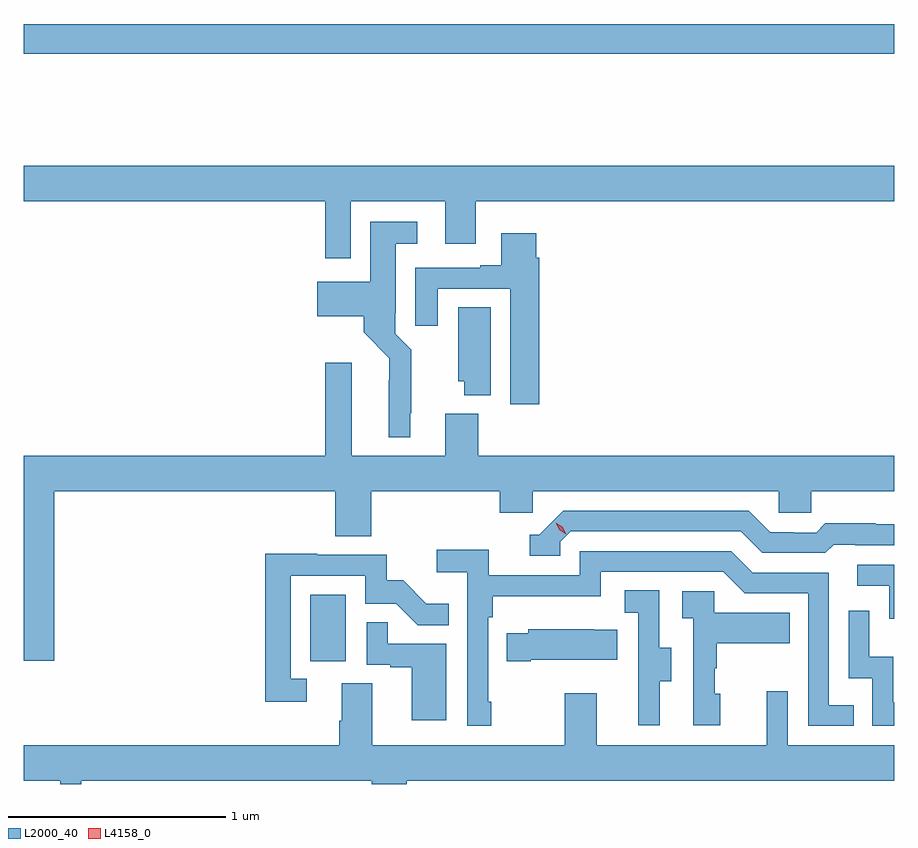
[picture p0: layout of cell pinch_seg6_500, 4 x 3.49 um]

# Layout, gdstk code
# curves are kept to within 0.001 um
import gdstk
lib = gdstk.Library(unit=1e-6, precision=1e-09)
def R(c, l, rs):  # rectangles x0, y0, x1, y1
    for r in rs: c.add(gdstk.rectangle(r[:2], r[2:], *l))
def P(c, l, *ps):  # polygons
    for p in ps: c.add(gdstk.Polygon(p, *l))
L2000_40 = (2000, 40)
L4158_0 = (4158, 0)

pinch_seg6_500 = lib.new_cell('pinch_seg6_500')
R(pinch_seg6_500, L2000_40, [(865.286,934.566,865.45,934.873), (863.971,937.36,867.971,937.496)])
P(pinch_seg6_500, L2000_40, [(865.473,936.68),(865.907,936.68),(865.907,936.486),(866.047,936.486),(866.047,936.68),(867.971,936.68),(867.971,936.844),(863.971,936.844),(863.971,936.68),(865.357,936.68),(865.357,936.42),(865.473,936.42)],
  [(865.747,935.707),(865.751,935.707),(865.751,935.998),(865.677,936.072),(865.677,936.166),(865.681,936.166),(865.681,936.485),(865.78,936.485),(865.78,936.586),(865.562,936.586),(865.562,936.31),(865.32,936.31),(865.32,936.152),(865.532,936.152),(865.532,936.078),(865.65,935.96),(865.649,935.597),(865.747,935.597)],
  [(866.339,936.422),(866.326,936.422),(866.326,936.535),(866.165,936.535),(866.165,936.388),(866.069,936.388),(866.069,936.375),(865.769,936.375),(865.769,936.108),(865.873,936.108),(865.873,936.279),(866.207,936.279),(866.207,935.748),(866.339,935.748)],
  [(866.116,936.194),(865.967,936.194),(865.967,935.853),(865.994,935.853),(865.994,935.789),(866.116,935.789)],
  [(864.11,935.348),(865.403,935.348),(865.403,935.14),(865.568,935.14),(865.568,935.348),(866.159,935.348),(866.159,935.25),(866.31,935.25),(866.31,935.348),(867.441,935.348),(867.441,935.25),(867.591,935.25),(867.591,935.348),(867.971,935.348),(867.971,935.512),(866.06,935.512),(866.06,935.704),(865.907,935.704),(865.907,935.512),(865.477,935.512),(865.477,935.938),(865.355,935.938),(865.355,935.512),(863.971,935.512),(863.971,934.569),(864.11,934.569)],
  [(866.436,935.115),(866.484,935.163),(867.267,935.163),(867.366,935.064),(867.655,935.064),(867.694,935.103),(867.793,935.103),(867.793,935.1),(867.971,935.1),(867.971,935.197),(867.888,935.197),(867.888,935.2),(867.655,935.2),(867.613,935.157),(867.51,935.157),(867.51,935.16),(867.403,935.16),(867.304,935.259),(866.451,935.259),(866.34,935.148),(866.297,935.148),(866.297,935.052),(866.436,935.052)],
  [(866.119,934.381),(866.106,934.381),(866.106,934.769),(866.126,934.769),(866.126,934.865),(866.622,934.865),(866.622,934.977),(867.186,934.977),(867.285,934.878),(867.576,934.878),(867.576,934.269),(867.785,934.269),(867.785,934.365),(867.672,934.365),(867.672,934.974),(867.322,934.974),(867.223,935.073),(866.526,935.073),(866.526,934.962),(866.108,934.962),(866.108,935.078),(865.869,935.078),(865.869,934.976),(866.01,934.976),(866.01,934.269),(866.119,934.269)],
  [(865.27,934.485),(865.197,934.485),(865.197,934.959),(865.539,934.959),(865.539,934.83),(865.683,934.83),(865.781,934.732),(865.925,934.732),(865.925,934.831),(865.821,934.831),(865.714,934.938),(865.638,934.938),(865.638,935.055),(865.319,935.055),(865.319,935.06),(865.081,935.06),(865.081,934.38),(865.27,934.38)],
  [(867.971,935.01),(867.801,935.01),(867.801,934.914),(867.948,934.914),(867.948,934.761),(867.971,934.761)],
  [(866.893,934.474),(866.947,934.474),(866.947,934.629),(866.892,934.629),(866.892,934.892),(866.733,934.892),(866.733,934.789),(866.796,934.789),(866.796,934.485),(866.795,934.485),(866.795,934.272),(866.893,934.272)],
  [(867.172,934.416),(867.147,934.416),(867.147,934.535),(867.157,934.535),(867.157,934.649),(867.491,934.649),(867.491,934.789),(867.144,934.789),(867.144,934.887),(866.997,934.887),(866.997,934.763),(867.048,934.763),(867.048,934.272),(867.172,934.272)],
  [(867.971,934.378),(867.968,934.378),(867.968,934.586),(867.858,934.586),(867.858,934.798),(867.762,934.798),(867.762,934.488),(867.87,934.488),(867.87,934.269),(867.971,934.269)],
  [(865.912,934.647),(865.643,934.647),(865.643,934.745),(865.548,934.745),(865.548,934.551),(865.655,934.551),(865.655,934.539),(865.754,934.539),(865.754,934.296),(865.912,934.296)],
  [(866.302,934.574),(866.699,934.574),(866.699,934.711),(866.591,934.711),(866.591,934.714),(866.289,934.714),(866.289,934.696),(866.191,934.696),(866.191,934.567),(866.302,934.567)],
  [(864.234,934.016),(865.57,934.016),(865.57,934.002),(865.73,934.002),(865.73,934.016),(867.971,934.016),(867.971,934.18),(867.483,934.18),(867.483,934.429),(867.386,934.429),(867.386,934.18),(866.605,934.18),(866.605,934.42),(866.458,934.42),(866.458,934.18),(865.573,934.18),(865.573,934.466),(865.433,934.466),(865.433,934.292),(865.421,934.292),(865.421,934.18),(863.971,934.18),(863.971,934.016),(864.138,934.016),(864.138,934.002),(864.234,934.002)])
P(pinch_seg6_500, L4158_0, [(866.463,935.151),(866.431,935.17),(866.415,935.203),(866.415,935.203),(866.415,935.203),(866.446,935.184),(866.463,935.151),(866.463,935.151)])

lib.write_gds('pinch_seg6_500.gds')
